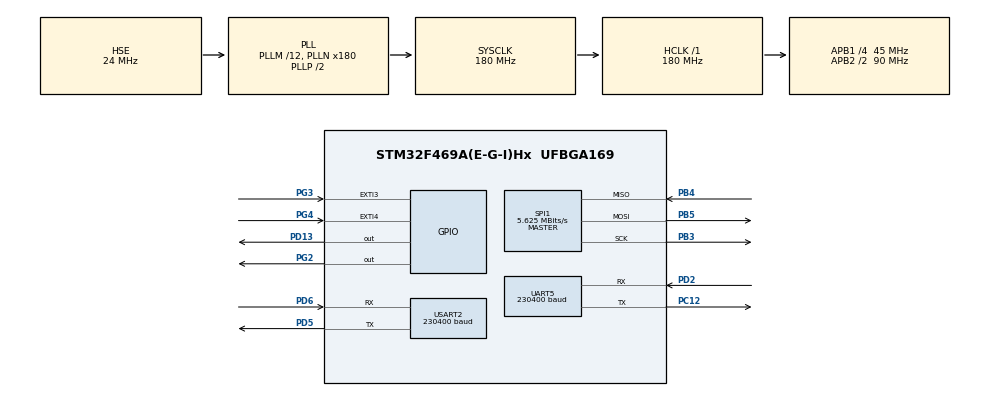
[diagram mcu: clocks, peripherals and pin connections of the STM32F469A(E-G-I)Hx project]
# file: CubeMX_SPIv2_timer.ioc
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Dma.Request0=USART2_RX
Dma.USART2_RX.0.Direction=DMA_PERIPH_TO_MEMORY
Dma.USART2_RX.0.FIFOMode=DMA_FIFOMODE_DISABLE
Dma.USART2_RX.0.Instance=DMA1_Stream5
Dma.USART2_RX.0.MemDataAlignment=DMA_MDATAALIGN_BYTE
Dma.USART2_RX.0.MemInc=DMA_MINC_ENABLE
Dma.USART2_RX.0.Mode=DMA_CIRCULAR
Dma.USART2_RX.0.PeriphDataAlignment=DMA_PDATAALIGN_BYTE
Dma.USART2_RX.0.PeriphInc=DMA_PINC_DISABLE
Dma.USART2_RX.0.Priority=DMA_PRIORITY_LOW
Mcu.Family=STM32F4
Mcu.Name=STM32F469A(E-G-I)Hx
Mcu.Package=UFBGA169
NVIC.DMA1_Stream5_IRQn=true\:0\:0\:false\:false\:true\:false\:true\:true
NVIC.EXTI3_IRQn=true\:0\:0\:false\:false\:true\:true\:true\:true
NVIC.EXTI4_IRQn=true\:0\:0\:false\:false\:true\:true\:true\:true
NVIC.PriorityGroup=NVIC_PRIORITYGROUP_4
NVIC.TIM2_IRQn=true\:0\:0\:false\:false\:true\:true\:true\:true
NVIC.USART2_IRQn=true\:0\:0\:false\:false\:true\:true\:true\:true
PA13.Mode=Serial_Wire
PA13.Signal=SYS_JTMS-SWDIO
PA14.Mode=Serial_Wire
PA14.Signal=SYS_JTCK-SWCLK
PB3.Mode=Full_Duplex_Master
PB3.Signal=SPI1_SCK
PB4.Mode=Full_Duplex_Master
PB4.Signal=SPI1_MISO
PB5.Mode=Full_Duplex_Master
PB5.Signal=SPI1_MOSI
PC12.Mode=Asynchronous
PC12.Signal=UART5_TX
PC14/OSC32_IN.Mode=LSE-External-Oscillator
PC14/OSC32_IN.Signal=RCC_OSC32_IN
PC15/OSC32_OUT.Mode=LSE-External-Oscillator
PC15/OSC32_OUT.Signal=RCC_OSC32_OUT
PD13.Signal=GPIO_Output
PD2.Mode=Asynchronous
PD2.Signal=UART5_RX
PD5.Mode=Asynchronous
PD5.Signal=USART2_TX
PD6.Mode=Asynchronous
PD6.Signal=USART2_RX
PG2.PinState=GPIO_PIN_SET
PG2.Signal=GPIO_Output
PG3.Signal=GPXTI3
PG4.Signal=GPXTI4
PH0/OSC_IN.Mode=HSE-External-Oscillator
PH0/OSC_IN.Signal=RCC_OSC_IN
PH1/OSC_OUT.Mode=HSE-External-Oscillator
PH1/OSC_OUT.Signal=RCC_OSC_OUT
ProjectManager.HeapSize=0x200
ProjectManager.StackSize=0x400
ProjectManager.TargetToolchain=STM32CubeIDE
RCC.AHBFreq_Value=180000000
RCC.APB1CLKDivider=RCC_HCLK_DIV4
RCC.APB1Freq_Value=45000000
RCC.APB1TimFreq_Value=90000000
RCC.APB2CLKDivider=RCC_HCLK_DIV2
RCC.APB2Freq_Value=90000000
RCC.APB2TimFreq_Value=180000000
RCC.CortexFreq_Value=180000000
RCC.HCLKFreq_Value=180000000
RCC.HSE_VALUE=24000000
RCC.PLLM=12
RCC.PLLN=180
RCC.PLLSourceVirtual=RCC_PLLSOURCE_HSE
RCC.SYSCLKFreq_VALUE=180000000
RCC.SYSCLKSource=RCC_SYSCLKSOURCE_PLLCLK
RCC.USBFreq_Value=90000000
RCC.VCOOutputFreq_Value=360000000
SPI1.BaudRatePrescaler=SPI_BAUDRATEPRESCALER_16
SPI1.CalculateBaudRate=5.625 MBits/s
SPI1.Direction=SPI_DIRECTION_2LINES
SPI1.Mode=SPI_MODE_MASTER
SPI1.VirtualType=VM_MASTER
TIM2.Period=1000-1
TIM2.Prescaler=24000-1
UART5.BaudRate=230400
UART5.VirtualMode=Asynchronous
USART2.BaudRate=230400
USART2.Parity=PARITY_NONE
USART2.VirtualMode=VM_ASYNC
VP_TIM2_VS_ClockSourceINT.Mode=Internal
board=custom

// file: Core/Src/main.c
/* USER CODE BEGIN Header */
/**
  ******************************************************************************
  * @file           : main.c
  * @brief          : Main program body
  ******************************************************************************
  * @attention
  *
  * Copyright (c) 2022 STMicroelectronics.
  * All rights reserved.
  *
  * This software is licensed under terms that can be found in the LICENSE file
  * in the root directory of this software component.
  * If no LICENSE file comes with this software, it is provided AS-IS.
  *
  ******************************************************************************
  */

/* USER CODE END Header */
#include "main.h"
#include "dma.h"
#include "spi.h"
#include "tim.h"
#include "usart.h"
#include "gpio.h"

/* USER CODE BEGIN PD */
#define DIM 8000			//Aumento la scalabilità del codice utilizzando questa macro
/* USER CODE END PD */

/* USER CODE BEGIN PV */

//Ho creato una funzione che mi semplifica la scrittura sulla COM di messaggi
void uprintf(char* str){
	HAL_UART_Transmit(&huart5, (uint8_t*)str, strlen(str), 100);
}

uint8_t spiSndX[1];			//Buffer di trasmissione X MSB
uint8_t spiSndY[1];			//Buffer di trasmissione Y MSB
uint8_t spiSndZ[1];			//Buffer di trasmissione Z MSB
uint8_t spiSndXLSB[1];		//Buffer di trasmissione X LSB
uint8_t spiSndYLSB[1];		//Buffer di trasmissione Y LSB
uint8_t spiSndZLSB[1];		//Buffer di trasmissione Z LSB
uint8_t spiRcv[2];			//Buffer di ricezione LSB
uint8_t spiRcvMSB[2];		//Buffer di ricezione MSB
uint8_t spiSnd[2];			//Buffer invio comandi SPI
uint16_t buffer[50]={0};	//Buffer usato per UART5
uint16_t buffer2[300];		//Buffer usato per UART5
uint8_t a;					//Variabile di appoggio usata per snprintf (si può eliminare se non la si usa)

float Vettx[DIM];			//Vettore float (con virgola) della misura Accelerazione Asse X
float Vetty[DIM];			//Vettore float (con virgola) della misura Accelerazione Asse Y
float Vettz[DIM];			//Vettore float (con virgola) della misura Accelerazione Asse Z

volatile uint8_t flag_elapsed = 0;	//Flag proveniente dall'interrupt function del timer (si alza dopo i 2250-1 conteggi settati)

/* USER CODE END PV */

void SystemClock_Config(void);

int main(void)
{
  /* USER CODE BEGIN 1 */
	spiSndX[0]=0x29|0x80;			//Indirizzo Lettura X MSB
    spiSndY[0]=0x2B|0x80;			//Indirizzo Lettura Y MSB
	spiSndZ[0]=0x2D|0x80;			//Indirizzo Lettura Z MSB
	spiSndXLSB[0]=0x28|0x80;		//Indirizzo Lettura X LSB
	spiSndYLSB[0]=0x2A|0x80;		//Indirizzo Lettura Y LSB
	spiSndZLSB[0]=0x2C|0x80;		//Indirizzo Lettura Z LSB
	uint16_t x[DIM];				//Vettore intero 16bit misura Accelerazione Asse X
	uint16_t y[DIM];				//Vettore intero 16bit misura Accelerazione Asse Y
	uint16_t z[DIM];				//Vettore intero 16bit misura Accelerazione Asse Z
	int16_t k=0;					//Variabile usata per il casting
	float acc;						//Accelerazione istantanea ad asse
	float typ=0.488;
	int i=0;						//Variabile di appoggio while
  /* USER CODE END 1 */

  /* MCU Configuration--------------------------------------------------------*/

  /* Reset of all peripherals, Initializes the Flash interface and the Systick. */
  HAL_Init();

  /* Configure the system clock */
  SystemClock_Config();

  /* Initialize all configured peripherals */
  MX_GPIO_Init();
  MX_DMA_Init();
  MX_SPI1_Init();
  MX_USART2_UART_Init();
  MX_UART5_Init();
  MX_TIM2_Init();
  /* USER CODE BEGIN 2 */
    HAL_UART_MspInit(&huart5);			//Inizializzo UART5

    //Messaggio di Boot COM
    uprintf("/******  Misuratore Assiale di Accelerazione  ******/ \n \r");
    uprintf("/****   Programma Realizzato da Salvatore Granata    ****/ \n \r");
    uprintf("/****   Ingegneria dell'Automazione   ****/ \n \r");
    uprintf("Sensore Avviato e pronto per misure \n \r");

   /*1. Abilito lo slave portando la linea CS/SS Bassa*/
    HAL_GPIO_WritePin(GPIOG, GPIO_PIN_2, GPIO_PIN_RESET);	   /*1. Abilita lo Slave settando CS Basso lo stato dell'IIS3DWB */

   /*2. Trasmetto indirizzo registro e dati */
    spiSnd[0]=0x10;												//Indirizzo Registro CTRL1_XL (Abilita l'accelerometro)
    spiSnd[1]=0xA4;												//Scrivo 101 all'inizio del registro per abilitarlo e poi tutti zero (accelerometro scala +-2g)
    HAL_SPI_Transmit(&hspi1, spiSnd, 2, 100);					//Invio messaggio allo slave per effettuare l'abilitazione abilitazione

   /*3. Disabilito lo slave portando la linea CS/SS Alta*/		//Inviata l'istruzione di abilitazione dell'accelerometro,
    HAL_GPIO_WritePin(GPIOG, GPIO_PIN_2, GPIO_PIN_SET);			//Chiudo la comunicazione

    HAL_TIM_Base_Start(&htim2);									//Faccio partire il timer
  /* USER CODE END 2 */

  /* Infinite loop */
  /* USER CODE BEGIN WHILE */
  while (i<DIM)
  {
	 if(flag_elapsed=1)											//La funzione di interrupt abilita il flag per ogni n conteggi selezionati
	 {
		 flag_elapsed=0;										//flag=0 in modo che non rientro ma aspetto che sia l'interrupt ad alzarlo

		//Asse X
		HAL_GPIO_WritePin(GPIOG, GPIO_PIN_2, GPIO_PIN_RESET);	//Abilito SPI1
		HAL_SPI_Transmit(&hspi1, spiSndX, 1, 100);				//Trasmetto Indirizzo dove leggere istruzione
		HAL_SPI_Receive(&hspi1, &spiRcv[0], 1, 100);			//Ricevo Risultato di misura MSB (8bit)
		HAL_GPIO_WritePin(GPIOG, GPIO_PIN_2, GPIO_PIN_SET);		//Chiudo la comunicazione SPI1
		HAL_GPIO_WritePin(GPIOG, GPIO_PIN_2, GPIO_PIN_RESET);	//Abilito la comunicazione SPI1 (NON POSSO FARE PIU OPERAZIONI CON UN'UNICA ATTIVAZIONE)
		HAL_SPI_Transmit(&hspi1, spiSndXLSB, 1, 100);			//Trasmetto Indirizzo dove leggere istruzione
		HAL_SPI_Receive(&hspi1, &spiRcv[1], 1, 100);			//Ricevo Risultato di misura LSB (8bit)
		x[i]=((int16_t)spiRcv[0] << 8) | spiRcv[1];				//Unisco MSB e LSB attraverso un'operazione di shift su 16bit
		HAL_GPIO_WritePin(GPIOG, GPIO_PIN_2, GPIO_PIN_SET);		//Chiudo la comunicazione SPI1
		k=(int16_t)x[i];										//Casting da uint a int (abilitazione del segno, complemento)
		acc=(k*typ)/1000;										//Da datasheet, il dato letto, lo converto in scala g attraverso questo calcolo
		Vettx[i]=acc;											//Aggiungo la misura al vettore delle letture
		//HAL_UART_Transmit(&huart5,(uint8_t*)"\n \r", 3, HAL_MAX_DELAY);			//Vado da capo

		spiRcv[0]=0;
		spiRcv[1]=0;
		//Asse Y
		HAL_GPIO_WritePin(GPIOG, GPIO_PIN_2, GPIO_PIN_RESET);	//Abilito SPI1
		HAL_SPI_Transmit(&hspi1, spiSndY, 1, 100);				//Trasmetto Indirizzo dove leggere istruzione
		HAL_SPI_Receive(&hspi1, &spiRcv[0], 1, 100);			//Ricevo Risultato di misura MSB (8bit)
		HAL_GPIO_WritePin(GPIOG, GPIO_PIN_2, GPIO_PIN_SET);		//Chiudo la comunicazione SPI1
		HAL_GPIO_WritePin(GPIOG, GPIO_PIN_2, GPIO_PIN_RESET);	//Abilito la comunicazione SPI1 (NON POSSO FARE PIU OPERAZIONI CON UN'UNICA ATTIVAZIONE)
		HAL_SPI_Transmit(&hspi1, spiSndYLSB, 1, 100);			//Trasmetto Indirizzo dove leggere istruzione
		HAL_SPI_Receive(&hspi1, &spiRcv[1], 1, 100);			//Ricevo Risultato di misura LSB (8bit)
		y[i]=((int16_t)spiRcv[0] << 8) | spiRcv[1];				//Unisco MSB e LSB attraverso un'operazione di shift su 16bit
		HAL_GPIO_WritePin(GPIOG, GPIO_PIN_2, GPIO_PIN_SET);		//Chiudo la comunicazione SPI1
		k=(int16_t)y[i];										//Casting da uint a int (abilitazione del segno, complemento)
		acc=(k*typ)/1000;										//Da datasheet, il dato letto, lo converto in scala g attraverso questo calcolo
		Vetty[i]=acc;											//Aggiungo la misura al vettore delle letture
		//HAL_UART_Transmit(&huart5,(uint8_t*)"\n \r", 3, HAL_MAX_DELAY);			//Vado da capo

		spiRcv[0]=0;
		spiRcv[1]=0;
		//Asse Z												//Si ripetono gli stessi commenti
		HAL_GPIO_WritePin(GPIOG, GPIO_PIN_2, GPIO_PIN_RESET);
		HAL_SPI_Transmit(&hspi1, spiSndZ, 1, 100);
		HAL_SPI_Receive(&hspi1, &spiRcv[0], 1, 100);
		HAL_GPIO_WritePin(GPIOG, GPIO_PIN_2, GPIO_PIN_SET);
		HAL_GPIO_WritePin(GPIOG, GPIO_PIN_2, GPIO_PIN_RESET);
		HAL_SPI_Transmit(&hspi1, spiSndZLSB, 1, 100);
		HAL_SPI_Receive(&hspi1, &spiRcv[1], 1, 100);
		z[i]=((int16_t)spiRcv[0] << 8) | spiRcv[1];
		HAL_GPIO_WritePin(GPIOG, GPIO_PIN_2, GPIO_PIN_SET);
		k=(int16_t)z[i];
		acc=(k*typ)/1000;
		Vettz[i]=acc;
		//HAL_UART_Transmit(&huart5,(uint8_t*)"\n \r", 3, HAL_MAX_DELAY);			//Vado da capo

	    i=i+1;															//Incremento la i per spostare le misure nel buffer
	  }
  }
    /* USER CODE END WHILE */

    /* USER CODE BEGIN 3 */
   HAL_TIM_Base_Stop(&htim2);											//Completate le n=DIM misure, fermo il timer
   HAL_UART_Transmit(&huart5,(uint8_t*)"\n \r", 3, HAL_MAX_DELAY);		//Trasmetto uno spazio per ordine

   //Scrivo le misure relative all'asse X
   uprintf("Misure Asse X \n \r");
   for(int j=0; j<DIM; j++){
	   sprintf(buffer2,"%f \n \r",Vettx[j]); // @suppress("Float formatting support")? No, ho aggiunto manualmente la funzione nel Linker
	   uprintf(buffer2);
   }

   //Scrivo le misure relative all'asse Y
   uprintf("Misure Asse Y \n \r");
   for(int j=0; j<DIM; j++){
	  sprintf(buffer2,"%f \n \r",Vetty[j]); // @suppress("Float formatting support")? No, ho aggiunto manualmente la funzione nel Linker
	  uprintf(buffer2);
   }

   //Scrivo le misure relative all'asse Z
   uprintf("Misure Asse Z \n \r");
   for(int j=0; j<DIM; j++){
	  sprintf(buffer2,"%f \n \r",Vettz[j]); // @suppress("Float formatting support")? No, ho aggiunto manualmente la funzione nel Linker
	  uprintf(buffer2);
   }
  /* USER CODE END 3 */
}

void SystemClock_Config(void)
{
  RCC_OscInitTypeDef RCC_OscInitStruct = {0};
  RCC_ClkInitTypeDef RCC_ClkInitStruct = {0};

  /** Configure the main internal regulator output voltage
  */
  __HAL_RCC_PWR_CLK_ENABLE();
  __HAL_PWR_VOLTAGESCALING_CONFIG(PWR_REGULATOR_VOLTAGE_SCALE1);

  /** Initializes the RCC Oscillators according to the specified parameters
  * in the RCC_OscInitTypeDef structure.
  */
  RCC_OscInitStruct.OscillatorType = RCC_OSCILLATORTYPE_HSE;
  RCC_OscInitStruct.HSEState = RCC_HSE_ON;
  RCC_OscInitStruct.PLL.PLLState = RCC_PLL_ON;
  RCC_OscInitStruct.PLL.PLLSource = RCC_PLLSOURCE_HSE;
  RCC_OscInitStruct.PLL.PLLM = 12;
  RCC_OscInitStruct.PLL.PLLN = 180;
  RCC_OscInitStruct.PLL.PLLP = RCC_PLLP_DIV2;
  RCC_OscInitStruct.PLL.PLLQ = 4;
  RCC_OscInitStruct.PLL.PLLR = 2;
  if (HAL_RCC_OscConfig(&RCC_OscInitStruct) != HAL_OK)
  {
    Error_Handler();
  }

  /** Activate the Over-Drive mode
  */
  if (HAL_PWREx_EnableOverDrive() != HAL_OK)
  {
    Error_Handler();
  }

  /** Initializes the CPU, AHB and APB buses clocks
  */
  RCC_ClkInitStruct.ClockType = RCC_CLOCKTYPE_HCLK|RCC_CLOCKTYPE_SYSCLK
                              |RCC_CLOCKTYPE_PCLK1|RCC_CLOCKTYPE_PCLK2;
  RCC_ClkInitStruct.SYSCLKSource = RCC_SYSCLKSOURCE_PLLCLK;
  RCC_ClkInitStruct.AHBCLKDivider = RCC_SYSCLK_DIV1;
  RCC_ClkInitStruct.APB1CLKDivider = RCC_HCLK_DIV4;
  RCC_ClkInitStruct.APB2CLKDivider = RCC_HCLK_DIV2;

  if (HAL_RCC_ClockConfig(&RCC_ClkInitStruct, FLASH_LATENCY_5) != HAL_OK)
  {
    Error_Handler();
  }
}

void Error_Handler(void)
{
  __disable_irq();
  while (1)
  {
  }
}
